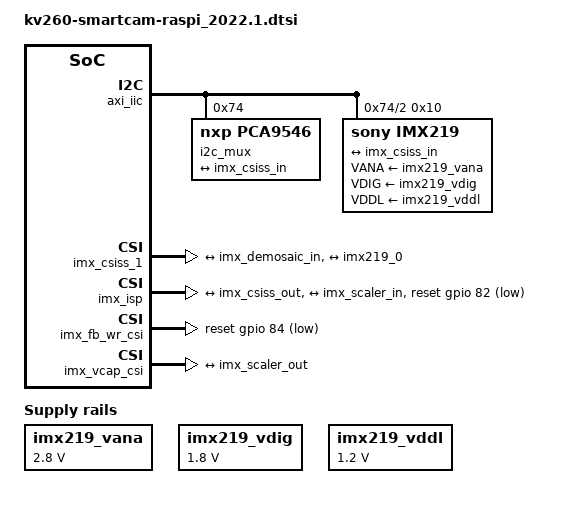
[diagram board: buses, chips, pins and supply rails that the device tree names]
// SPDX-License-Identifier: GPL-2.0
/*
 * dts file for Xilinx KV260 smartcam
 *
 * (C) Copyright 2020 - 2021, Xilinx, Inc.
 *
 */

/dts-v1/;
/plugin/;

&fpga_full {
	#address-cells = <2>;
	#size-cells = <2>;
	firmware-name = "kv260-smartcam-raspi.bit.bin";
	resets = <&zynqmp_reset 116>, <&zynqmp_reset 117>, <&zynqmp_reset 118>, <&zynqmp_reset 119>;
};

&amba {
	afi0: afi0 {
		compatible = "xlnx,afi-fpga";
		config-afi = <0 0>, <1 0>, <2 0>, <3 0>, <4 1>, <5 1>, <6 0>, <7 0>, <8 0>, <9 0>, <10 0>, <11 0>, <12 0>, <13 0>, <14 0x0>, <15 0x000>;
	};

	clocking0: clocking0 {
		#clock-cells = <0>;
		assigned-clock-rates = <99999001>;
		assigned-clocks = <&zynqmp_clk 71>;
		clock-output-names = "fabric_clk";
		clocks = <&zynqmp_clk 71>;
		compatible = "xlnx,fclk";
	};

	clocking1: clocking1 {
		#clock-cells = <0>;
		assigned-clock-rates = <99999001>;
		assigned-clocks = <&zynqmp_clk 72>;
		clock-output-names = "fabric_clk";
		clocks = <&zynqmp_clk 72>;
		compatible = "xlnx,fclk";
	};

	/* fpga clocks */
	misc_clk_0: misc_clk_0 {
		#clock-cells = <0x0>;
		clock-frequency = <99999000>;
		compatible = "fixed-clock";
	};

	misc_clk_1: misc_clk_1 {
		#clock-cells = <0x0>;
		clock-frequency = <199998000>;
		compatible = "fixed-clock";
	};

	misc_clk_2: misc_clk_2 {
		#clock-cells = <0x0>;
		clock-frequency = <199998000>;
		compatible = "fixed-clock";
	};

	misc_clk_5: misc_clk_5 {
		#clock-cells = <0x0>;
		clock-frequency = <49999500>;
		compatible = "fixed-clock";
	};

	misc_clk_6: misc_clk_6 {
		#clock-cells = <0x0>;
		clock-frequency = <18432019>;
		compatible = "fixed-clock";
	};

	misc_clk_7: misc_clk_7 {
		#clock-cells = <0x0>;
		clock-frequency = <24000000>;
		compatible = "fixed-clock";
	};



	imx219_vana: fixedregulator@3 {
		compatible = "regulator-fixed";
		regulator-name = "imx219_vana";
		regulator-min-microvolt = <2800000>;
		regulator-max-microvolt = <2800000>;
		enable-active-high;
	};

	imx219_vdig: fixedregulator@4 {
		compatible = "regulator-fixed";
		regulator-name = "imx219_vdig";
		regulator-min-microvolt = <1800000>;
		regulator-max-microvolt = <1800000>;
	};

	imx219_vddl: fixedregulator@5 {
		compatible = "regulator-fixed";
		regulator-name = "imx219_vddl";
		regulator-min-microvolt = <1200000>;
		regulator-max-microvolt = <1200000>;
	};

	axi_iic: i2c@80030000 {
		#address-cells = <1>;
		#size-cells = <0>;
		clock-names = "s_axi_aclk";
		clocks = <&misc_clk_0>;
		compatible = "xlnx,axi-iic-2.0", "xlnx,xps-iic-2.00.a";
		interrupt-names = "iic2intc_irpt";
		interrupt-parent = <&gic>;
		interrupts = <0 107 4>;
		reg = <0x0 0x80030000 0x0 0x10000>;

		i2c_mux: i2c-mux@74 {
			compatible = "nxp,pca9546";
			#address-cells = <1>;
			#size-cells = <0>;
			reg = <0x74>;

			i2c@2 {
				#address-cells = <1>;
				#size-cells = <0>;
				reg = <2>;
				imx219: sensor@10 {
					compatible = "sony,imx219";
					reg = <0x10>;
					clocks = <&misc_clk_7>;
					VANA-supply = <&imx219_vana>;   /* 2.8v */
					VDIG-supply = <&imx219_vdig>;   /* 1.8v */
					VDDL-supply = <&imx219_vddl>;   /* 1.2v */
					//reset-gpios = <&axi_gpio 2 0 0>;

					port {
					     imx219_0: endpoint {
						remote-endpoint = <&imx_csiss_in>;
						data-lanes = <1 2>;
						link-frequencies = /bits/ 64 <456000000>;
						};
					};
				};
			};
		};
	};


	imx_csiss_1: csiss@0x80002000 {
		compatible = "xlnx,mipi-csi2-rx-subsystem-5.1", "xlnx,mipi-csi2-rx-subsystem-5.0";
		reg = <0x0 0x80002000 0x0 0x2000>;
		clock-names = "lite_aclk", "dphy_clk_200M", "video_aclk";
		clocks = <&misc_clk_0>, <&misc_clk_1>, <&misc_clk_2>;
		interrupt-parent = <&gic>;
		interrupts = <0 104 4>;
		xlnx,csi-pxl-format = <0x2b>;
		xlnx,axis-tdata-width = <32>;
		xlnx,max-lanes = <2>;
		xlnx,en-active-lanes;
		xlnx,vc = <4>;
		xlnx,ppc = <1>;
		xlnx,vfb;

		ports {
			#address-cells = <1>;
			#size-cells = <0>;

			port@1 {
				reg = <0x1>;
				xlnx,video-format = <12>;
				xlnx,video-width = <8>;
				
				imx_csiss_out: endpoint {
				   remote-endpoint = <&imx_demosaic_in>;
				};
			};
			port@0 {
				reg = <0x0>;
				xlnx,video-format = <12>;
				xlnx,video-width = <8>;
				
				imx_csiss_in: endpoint {
				   data-lanes = <1 2>;
				   remote-endpoint = <&imx219_0>;
				};
			};
		};
	};

	imx_isp: isp_accel@b0000000 {
			clock-names = "ap_clk";
			clocks = <&misc_clk_2>;
			compatible = "xlnx,ISPPipeline_accel";
			reset-gpios = <&gpio 82 1>;
			reg = <0x0 0xb0000000 0x0 0x10000>;
			xlnx,s-axi-ctrl-addr-width = <0xc>;
			xlnx,s-axi-ctrl-data-width = <0x20>;
			xlnx,max-height = <1080>;
			xlnx,max-width = <1920>;
			xlnx,rgain = <128>;
			xlnx,bgain = <210>;
			xlnx,pawb = <350>;
			xlnx,mode-reg = <1>;
		ports {
			#address-cells = <1>;
			#size-cells = <0>;

			port@0 {
				reg = <0>;
				xlnx,video-width = <10>;
				xlnx,cfa-pattern = "rggb";

				imx_demosaic_in: endpoint {
					remote-endpoint = <&imx_csiss_out>;
				};
			};

			port@1 {
				reg = <1>;
				xlnx,video-width = <8>;
				xlnx,cfa-pattern = "rggb";
				
				imx_demosaic_out: endpoint {
					remote-endpoint = <&imx_scaler_in>;
				};
			};
		};
	};

	imx_scaler_1: scaler@0xb0040000 {
		compatible = "xlnx,v-vpss-scaler-2.2";
		reg = <0x0 0xb0040000 0x0 0x40000>;
		clock-names = "aclk_axis", "aclk_ctrl";
		clocks = <&misc_clk_2>, <&misc_clk_2>;
		xlnx,num-hori-taps = <6>;
		xlnx,num-vert-taps = <6>;
		xlnx,pix-per-clk = <1>;
		reset-gpios = <&gpio 83 1>;
		xlnx,max-height = <1080>;
		xlnx,max-width = <1920>;

		ports {
			#address-cells = <1>;
			#size-cells = <0>;

			port@0 {
				reg = <0>;
				xlnx,video-format = <3>;
				xlnx,video-width = <8>;

				imx_scaler_in: endpoint {
					remote-endpoint = <&imx_demosaic_out>;
				};
			};

			port@1 {
				reg = <1>;
				xlnx,video-format = <3>;
				xlnx,video-width = <8>;

				imx_scaler_out: endpoint {
					remote-endpoint = <&imx_vcap_csi_in>;
				};
			};
		};
	};

	imx_fb_wr_csi: fb_wr@0xb0080000 {
		compatible = "xlnx,v-frmbuf-wr-2.2", "xlnx,axi-frmbuf-wr-v2.1";
		reg = <0x0 0xb0080000 0x0 0x10000>;
		#dma-cells = <1>;
		interrupt-parent = <&gic>;
		interrupts = <0 108 4>;
		reset-gpios = <&gpio 84 1>;
		xlnx,vid-formats = "nv12", "bgr888", "rgb888";
		xlnx,dma-addr-width = <32>;
		xlnx,pixels-per-clock = <1>;
		xlnx,max-height = <1080>;
		xlnx,max-width = <1920>;
		clocks = <&misc_clk_2>;
		clock-names = "ap_clk";
	};

	imx_vcap_csi {
		compatible = "xlnx,video";
		dmas = <&imx_fb_wr_csi 0>;
		dma-names = "port0";

		ports {
			#address-cells = <1>;
			#size-cells = <0>;

			port@0 {
				reg = <0>;
				direction = "input";

				imx_vcap_csi_in: endpoint {
					remote-endpoint = <&imx_scaler_out>;
				};
			};
		};
	};


	/* vcu encode/decode */
	vcu: vcu@80100000 {
		#address-cells = <2>;
		#clock-cells = <1>;
		#size-cells = <2>;
		clock-names = "pll_ref", "aclk", "vcu_core_enc", "vcu_mcu_enc", "vcu_core_dec", "vcu_mcu_dec";
		clocks = <&misc_clk_5>, <&misc_clk_0>, <&vcu 0>, <&vcu 1>, <&vcu 2>, <&vcu 3>;
		compatible = "xlnx,vcu-1.2", "xlnx,vcu";
		interrupt-names = "vcu_host_interrupt";
		interrupt-parent = <&gic>;
		interrupts = <0 106 4>;
		ranges;
		reg = <0x0 0x80140000 0x0 0x1000>, <0x0 0x80141000 0x0 0x1000>;
		reg-names = "vcu_slcr", "logicore";
		reset-gpios = <&gpio 80 0>;
		xlnx,skip-isolation;

		al5e: al5e@80100000 {
			compatible = "al,al5e-1.2", "al,al5e";
			interrupt-parent = <&gic>;
			interrupts = <0 106 4>;
			reg = <0x0 0x80100000 0x0 0x10000>;
		};

		al5d: al5d@80120000 {
			compatible = "al,al5d-1.2", "al,al5d";
			interrupt-parent = <&gic>;
			interrupts = <0 106 4>;
			reg = <0x0 0x80120000 0x0 0x10000>;
		};
	};

	/* zocl */
	zocl: zyxclmm_drm {
		compatible = "xlnx,zocl";
		status = "okay";
		interrupt-parent = <&gic>;
		interrupts = <0 89  4>, <0 90  4>, <0 91  4>, <0 92  4>,
			     <0 93  4>, <0 94  4>, <0 95  4>, <0 96  4>;
	};
};
